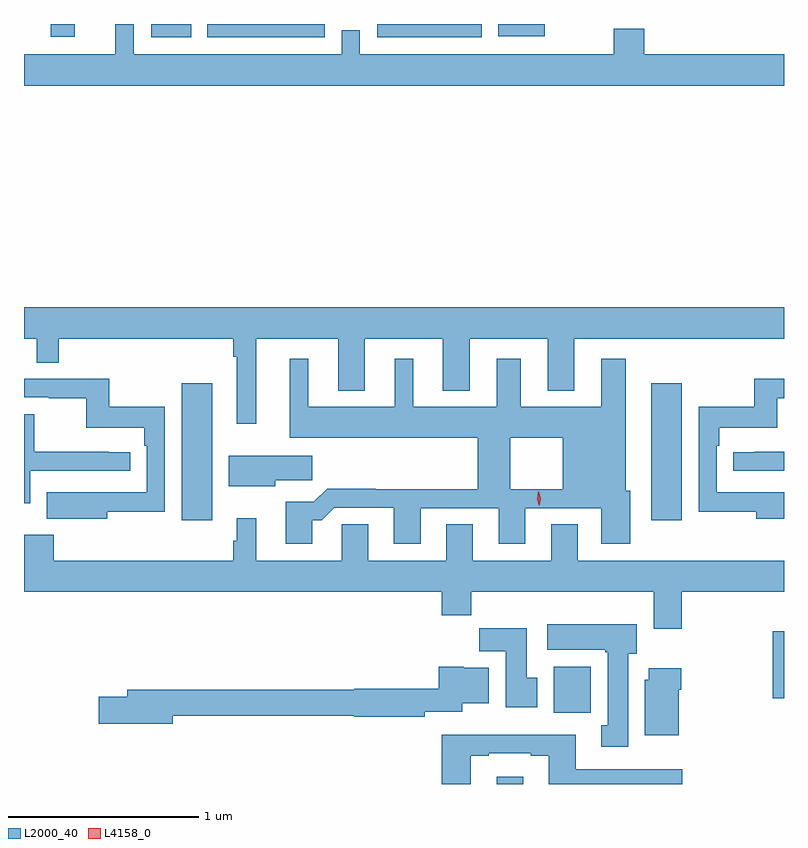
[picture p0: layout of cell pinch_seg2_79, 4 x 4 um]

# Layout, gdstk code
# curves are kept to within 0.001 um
import gdstk
lib = gdstk.Library(unit=1e-6, precision=1e-09)
def R(c, l, rs):  # rectangles x0, y0, x1, y1
    for r in rs: c.add(gdstk.rectangle(r[:2], r[2:], *l))
def P(c, l, *ps):  # polygons
    for p in ps: c.add(gdstk.Polygon(p, *l))
L2000_40 = (2000, 40)
L4158_0 = (4158, 0)

pinch_seg2_79 = lib.new_cell('pinch_seg2_79')
R(pinch_seg2_79, L2000_40, [(1079.849,658.612,1079.989,658.651), (1080.149,658.988,1080.346,659.23), (1081.304,659.063,1081.362,659.416), (1078.193,660,1078.354,660.721), (1080.662,660,1080.823,660.721), (1078.032,662.541,1078.241,662.612), (1078.326,662.541,1078.944,662.612), (1079.22,662.541,1079.772,662.612), (1077.504,662.544,1077.628,662.612), (1079.857,662.547,1080.103,662.612)])
P(pinch_seg2_79, L2000_40, [(1081.362,662.452),(1080.626,662.452),(1080.626,662.587),(1080.466,662.587),(1080.466,662.452),(1079.13,662.452),(1079.13,662.579),(1079.034,662.579),(1079.034,662.452),(1077.939,662.452),(1077.939,662.612),(1077.842,662.612),(1077.842,662.452),(1077.362,662.452),(1077.362,662.288),(1081.362,662.288)],
  [(1078.585,660.956),(1079.015,660.956),(1079.015,660.683),(1079.155,660.683),(1079.155,660.956),(1079.567,660.956),(1079.567,660.683),(1079.707,660.683),(1079.707,660.956),(1080.119,660.956),(1080.119,660.683),(1080.259,660.683),(1080.259,660.956),(1081.362,660.956),(1081.362,661.12),(1077.362,661.12),(1077.362,660.956),(1077.429,660.956),(1077.429,660.829),(1077.545,660.829),(1077.545,660.956),(1078.464,660.956),(1078.464,660.86),(1078.481,660.86),(1078.481,660.507),(1078.585,660.507)],
  [(1079.213,660.167),(1078.958,660.167),(1078.888,660.097),(1078.739,660.097),(1078.739,659.877),(1078.879,659.877),(1078.879,659.999),(1078.928,659.999),(1078.995,660.066),(1079.309,660.066),(1079.309,659.877),(1079.449,659.877),(1079.449,660.063),(1079.861,660.063),(1079.861,659.877),(1080.001,659.877),(1080.001,660.063),(1080.401,660.063),(1080.401,659.877),(1080.553,659.877),(1080.553,660.156),(1080.529,660.156),(1080.529,660.85),(1080.401,660.85),(1080.401,660.598),(1079.977,660.598),(1079.977,660.85),(1079.849,660.85),(1079.849,660.598),(1079.41,660.598),(1079.41,660.85),(1079.312,660.85),(1079.312,660.598),(1078.858,660.598),(1078.858,660.85),(1078.76,660.85),(1078.76,660.434),(1079.75,660.434),(1079.75,660.164),(1079.92,660.164),(1079.92,660.434),(1080.197,660.434),(1080.197,660.164),(1079.213,660.164)],
  [(1077.799,660.046),(1078.104,660.046),(1078.104,660.598),(1077.811,660.598),(1077.811,660.744),(1077.362,660.744),(1077.362,660.648),(1077.493,660.648),(1077.493,660.643),(1077.69,660.643),(1077.69,660.488),(1077.995,660.488),(1077.995,660.392),(1078.008,660.392),(1078.008,660.147),(1077.695,660.147),(1077.695,660.148),(1077.481,660.148),(1077.481,660.008),(1077.799,660.008)],
  [(1081.362,660.148),(1081.321,660.148),(1081.321,660.147),(1081.008,660.147),(1081.008,660.392),(1081.022,660.392),(1081.022,660.488),(1081.327,660.488),(1081.327,660.643),(1081.362,660.643),(1081.362,660.744),(1081.206,660.744),(1081.206,660.598),(1080.912,660.598),(1080.912,660.046),(1081.217,660.046),(1081.217,660.008),(1081.362,660.008)],
  [(1077.396,660.261),(1077.922,660.261),(1077.922,660.357),(1077.809,660.357),(1077.809,660.362),(1077.416,660.362),(1077.416,660.558),(1077.362,660.558),(1077.362,660.089),(1077.396,660.089)],
  [(1081.362,660.362),(1081.207,660.362),(1081.207,660.357),(1081.095,660.357),(1081.095,660.261),(1081.362,660.261)],
  [(1078.684,660.211),(1078.879,660.211),(1078.879,660.34),(1078.44,660.34),(1078.44,660.179),(1078.684,660.179)],
  [(1080.825,659.624),(1081.362,659.624),(1081.362,659.788),(1080.277,659.788),(1080.277,659.978),(1080.137,659.978),(1080.137,659.788),(1079.725,659.788),(1079.725,659.978),(1079.585,659.978),(1079.585,659.788),(1079.173,659.788),(1079.173,659.978),(1079.034,659.978),(1079.034,659.788),(1078.585,659.788),(1078.585,660.01),(1078.481,660.01),(1078.481,659.891),(1078.464,659.891),(1078.464,659.788),(1077.518,659.788),(1077.518,659.923),(1077.362,659.923),(1077.362,659.624),(1079.561,659.624),(1079.561,659.5),(1079.717,659.5),(1079.717,659.624),(1080.677,659.624),(1080.677,659.43),(1080.825,659.43)],
  [(1080.541,659.298),(1080.586,659.298),(1080.586,659.452),(1080.117,659.452),(1080.117,659.318),(1080.421,659.318),(1080.421,659.305),(1080.434,659.305),(1080.434,658.922),(1080.401,658.922),(1080.401,658.809),(1080.541,658.809)],
  [(1080.064,659.172),(1080.007,659.172),(1080.007,659.431),(1079.758,659.431),(1079.758,659.312),(1079.897,659.312),(1079.897,659.016),(1080.064,659.016)],
  [(1078.144,658.972),(1079.1,658.972),(1079.1,658.967),(1079.472,658.967),(1079.472,658.991),(1079.668,658.991),(1079.668,659.036),(1079.809,659.036),(1079.809,659.224),(1079.676,659.224),(1079.676,659.23),(1079.546,659.23),(1079.546,659.114),(1079.1,659.114),(1079.1,659.108),(1077.905,659.108),(1077.905,659.072),(1077.756,659.072),(1077.756,658.93),(1078.144,658.93)],
  [(1080.808,659.108),(1080.821,659.108),(1080.821,659.221),(1080.65,659.221),(1080.65,659.16),(1080.629,659.16),(1080.629,658.868),(1080.808,658.868)],
  [(1079.713,658.761),(1079.809,658.761),(1079.809,658.773),(1080.029,658.773),(1080.029,658.761),(1080.125,658.761),(1080.125,658.612),(1080.826,658.612),(1080.826,658.689),(1080.265,658.689),(1080.265,658.87),(1079.561,658.87),(1079.561,658.612),(1079.713,658.612)])
P(pinch_seg2_79, L4158_0, [(1080.074,660.077),(1080.074,660.077),(1080.062,660.112),(1080.069,660.149),(1080.069,660.149),(1080.07,660.149),(1080.082,660.114),(1080.075,660.077)])

lib.write_gds('pinch_seg2_79.gds')
